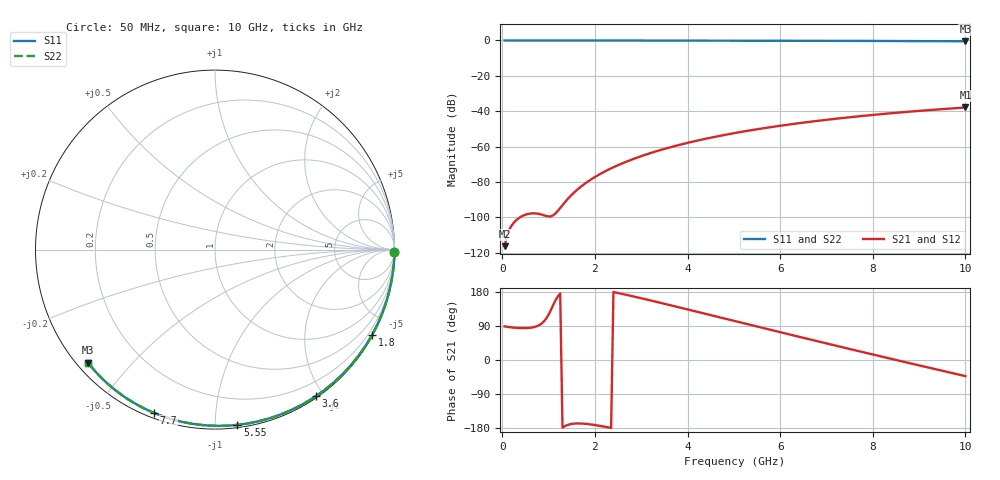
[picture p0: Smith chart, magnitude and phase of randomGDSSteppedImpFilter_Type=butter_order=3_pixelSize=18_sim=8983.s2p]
! freq	dB(S11)	phase(S11)	dB(S12)	phase(S12)
!  dB(S21)	phase(S21)	dB(S22)	phase(S22)
!S-par simulation data
#  GHz  S  DB  R 50
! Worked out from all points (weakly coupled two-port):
!   200 points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, 50 MHz to 10 GHz, reference 50 ohm
!   highest |S21| = -37.92 dB at 10 GHz (marker M1); lowest = -116.4 dB at 50 MHz (marker M2)
!   lowest |S11| = -0.5 dB at 10 GHz (marker M3), VSWR 37.11, Z = 1.54 - j19 ohm
!   |S11| at or under -10 dB: nowhere
!   |S22| runs from -0.5 to 0.0 dB; largest |S21 - S12| = 0
!   S11 on the Smith chart (normalised r, x): 50 MHz: open; 1.8 GHz: 0.03, -3.96; 3.6 GHz: 0.02, -1.90; 5.55 GHz: 0.02, -1.14; 7.7 GHz: 0.02, -0.70; 10 GHz: 0.03, -0.38
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0.05  -0.00 -0.8  -116.38 88.7  -116.38 88.7  -0.00 -0.8
0.45  -0.01 -7.2  -99.09 84.1  -99.09 84.1  -0.01 -7.2
0.9  -0.02 -14.3  -98.92 102.0  -98.92 102.0  -0.02 -14.3
1.75  -0.04 -27.6  -81.65 -168.0  -81.65 -168.0  -0.04 -27.6
1.8  -0.04 -28.4  -80.69 -168.5  -80.69 -168.5  -0.04 -28.4
1.85  -0.04 -29.1  -79.78 -169.1  -79.78 -169.1  -0.04 -29.1
2  -0.04 -31.5  -77.26 -171.6  -77.26 -171.6  -0.04 -31.5
2.15  -0.04 -33.8  -75.00 -174.7  -75.00 -174.7  -0.04 -33.8
2.35  -0.05 -36.8  -72.34 -179.4  -72.34 -179.4  -0.05 -36.8
2.55  -0.05 -39.8  -69.97 175.5  -69.97 175.5  -0.05 -39.8
2.95  -0.06 -45.8  -65.91 164.4  -65.91 164.4  -0.06 -45.8
3.4  -0.07 -52.5  -62.11 151.4  -62.11 151.4  -0.07 -52.5
3.6  -0.07 -55.4  -60.62 145.5  -60.62 145.5  -0.07 -55.4
4.3  -0.09 -65.5  -56.13 124.5  -56.13 124.5  -0.09 -65.5
5.05  -0.12 -75.9  -52.24 101.9  -52.24 101.9  -0.12 -75.9
5.55  -0.14 -82.7  -50.03 86.9  -50.03 86.9  -0.14 -82.7
6.1  -0.16 -90.0  -47.89 70.4  -47.89 70.4  -0.16 -90.0
6.7  -0.19 -97.8  -45.83 52.6  -45.83 52.6  -0.19 -97.8
7.7  -0.25 -110.4  -42.90 23.2  -42.90 23.2  -0.25 -110.4
8.35  -0.30 -118.4  -41.28 4.4  -41.28 4.4  -0.30 -118.4
9.2  -0.38 -128.7  -39.43 -19.9  -39.43 -19.9  -0.38 -128.7
10  -0.47 -138.4  -37.92 -42.6  -37.92 -42.6  -0.47 -138.4
